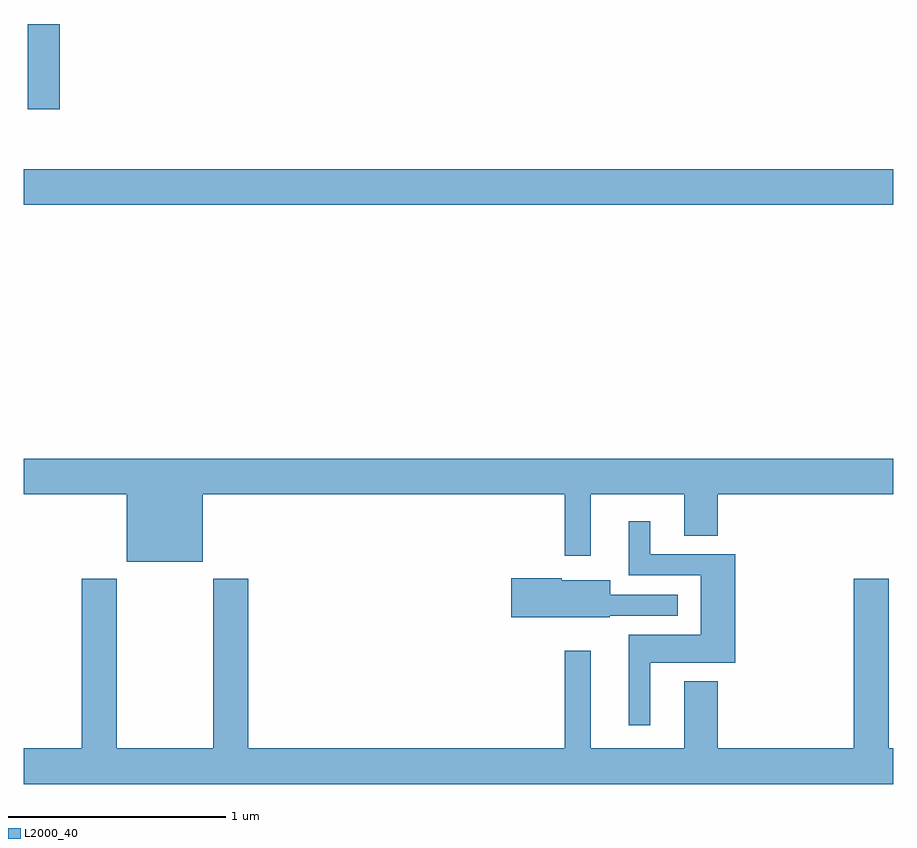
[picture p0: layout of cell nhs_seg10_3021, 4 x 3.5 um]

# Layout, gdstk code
import gdstk
lib = gdstk.Library(unit=1e-6, precision=1e-09)
def R(c, l, rs):  # rectangles x0, y0, x1, y1
    for r in rs: c.add(gdstk.rectangle(r[:2], r[2:], *l))
def P(c, l, *ps):  # polygons
    for p in ps: c.add(gdstk.Polygon(p, *l))
L2000_40 = (2000, 40)

nhs_seg10_3021 = lib.new_cell('nhs_seg10_3021')
R(nhs_seg10_3021, L2000_40, [(275,1281.668,279,1281.832), (275.018,1282.107,275.165,1282.5)])
P(nhs_seg10_3021, L2000_40, [(275.824,1280.336),(277.488,1280.336),(277.488,1280.055),(277.609,1280.055),(277.609,1280.336),(278.039,1280.336),(278.039,1280.146),(278.192,1280.146),(278.192,1280.336),(279,1280.336),(279,1280.5),(275,1280.5),(275,1280.336),(275.474,1280.336),(275.474,1280.027),(275.824,1280.027)],
  [(277.882,1279.562),(278.273,1279.562),(278.273,1280.061),(277.882,1280.061),(277.882,1280.212),(277.784,1280.212),(277.784,1279.965),(278.114,1279.965),(278.114,1279.69),(277.784,1279.69),(277.784,1279.275),(277.882,1279.275)],
  [(277.695,1279.779),(278.008,1279.779),(278.008,1279.875),(277.699,1279.875),(277.699,1279.942),(277.476,1279.942),(277.476,1279.95),(277.242,1279.95),(277.242,1279.772),(277.695,1279.772)],
  [(278.819,1279.948),(278.819,1279.168),(278.192,1279.168),(278.192,1279.477),(278.039,1279.477),(278.039,1279.168),(277.609,1279.168),(277.609,1279.618),(277.488,1279.618),(277.488,1279.168),(276.032,1279.168),(276.032,1279.948),(275.872,1279.948),(275.872,1279.168),(275.427,1279.168),(275.427,1279.948),(275.267,1279.948),(275.267,1279.168),(275,1279.168),(275,1279.004),(279,1279.004),(279,1279.168),(278.979,1279.168),(278.979,1279.948)])

lib.write_gds('nhs_seg10_3021.gds')
